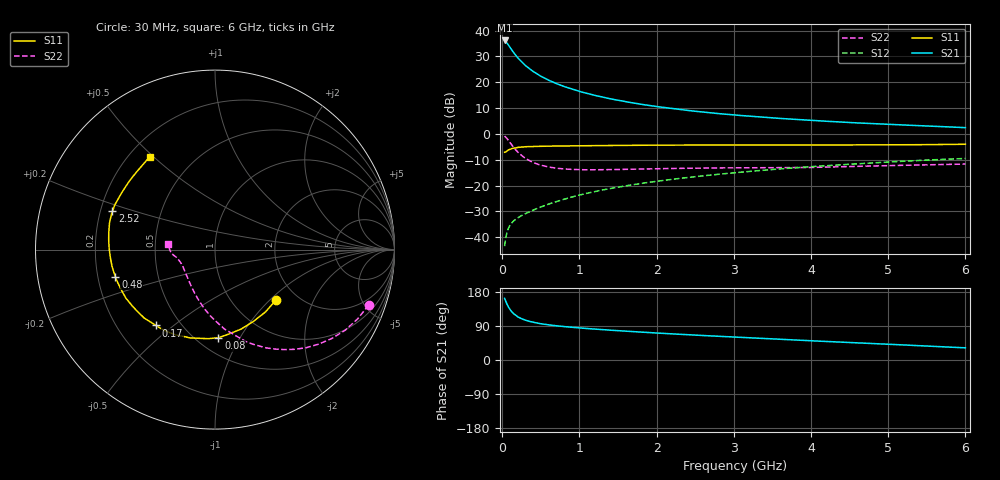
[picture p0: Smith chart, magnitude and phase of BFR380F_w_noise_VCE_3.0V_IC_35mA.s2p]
! Infineon Technologies  Discrete & RF Semiconductors
! BFR380F
! VCE =  3.0 V,  IC =  35 mA
! Common Emitter S-Parameters:  Nov 2015
# GHz  S  MA  R  50
!  f  S11  S21  S12  S22
! GHz  MAG  ANG  MAG  ANG  MAG  ANG  MAG  ANG
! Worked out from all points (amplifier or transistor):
!   206 points, 30 MHz to 6 GHz, reference 50 ohm
!   highest |S21| = 36.2 dB at 30 MHz (marker M1)
!   |S21| within 3 dB of that: start of sweep to 107.1 MHz
!   unconditionally stable (mu >= 1): 1.032 GHz to 4.968 GHz
!   at 200 MHz: K = 0.53, MSG = 31.0 dB, |S12| = -32.5 dB
!   at 1.56 GHz: K = 1.03, MAG = 15.4 dB, |S12| = -20.3 dB
!   at 6 GHz: K = 0.99, MSG = 6.0 dB, |S12| = -9.5 dB
!   lowest NFmin = 1.29 dB at 900 MHz
!   S11 on the Smith chart (normalised r, x): 30 MHz: 1.57, -1.09; 80 MHz: 0.63, -0.82; 170 MHz: 0.37, -0.43; 480 MHz: 0.27, -0.12; 2.52 GHz: 0.25, +0.17; 6 GHz: 0.28, +0.48
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0.03  0.4409 -39.5  64.65 162.6  0.0067 78.1  0.9104 -19.8
0.05  0.4542 -62.2  60.53 152.0  0.0106 70.9  0.853 -31.8
0.07  0.4772 -80.9  55.16 143.3  0.0136 65.3  0.7813 -42.4
0.08  0.4913 -87.8  52.58 139.8  0.0149 63.5  0.7461 -47.1
0.1  0.5028 -100.5  47.42 133.3  0.017 59.6  0.6777 -55.3
0.12  0.5154 -110.6  42.87 128.0  0.0187 57.3  0.617 -62.5
0.15  0.5326 -122.4  37.14 121.6  0.0209 55.1  0.5404 -71.4
0.17  0.5354 -127.9  34.15 118.9  0.022 54.5  0.5004 -75.6
0.2  0.5488 -136.0  29.84 113.9  0.0237 53.8  0.4465 -83.1
0.26  0.558 -146.1  24.08 108.1  0.0267 54.6  0.3725 -93.6
0.3  0.5653 -151.4  21.13 104.9  0.0286 55.4  0.3365 -99.8
0.4  0.5714 -160.0  16.21 99.5  0.0335 58.2  0.2801 -111.9
0.48  0.5754 -164.8  13.66 96.4  0.0375 60.3  0.2532 -119.5
0.7  0.583 -173.4  9.457 90.3  0.049 64.5  0.2172 -135.4
1.04  0.5904 178.6  6.425 84.0  0.0677 67.8  0.2027 -149.8
1.4  0.5974 172.5  4.788 78.7  0.0877 69.1  0.2038 -158.4
2.02  0.607 164.8  3.362 71.0  0.1222 69.0  0.212 -164.8
2.52  0.6097 159.5  2.728 65.5  0.1499 68.0  0.2174 -167.9
3.1  0.6097 154.1  2.27 59.7  0.1821 66.2  0.2209 -169.5
4.1  0.6095 144.2  1.794 49.8  0.2376 61.9  0.226 -170.6
5.1  0.6152 135.0  1.512 40.7  0.2907 57.2  0.2452 -176.0
6  0.6314 125.3  1.325 32.1  0.335 51.9  0.2613 173.6
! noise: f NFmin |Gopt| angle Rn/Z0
0.45  1.32  0.33  -177  0.08
0.9  1.29  0.36  -177  0.07
1.8  1.5  0.42  -166  0.08
1.9  1.58  0.43  -166  0.08
2.4  1.65  0.45  -156  0.1
3.5  2.23  0.51  -147  0.16
